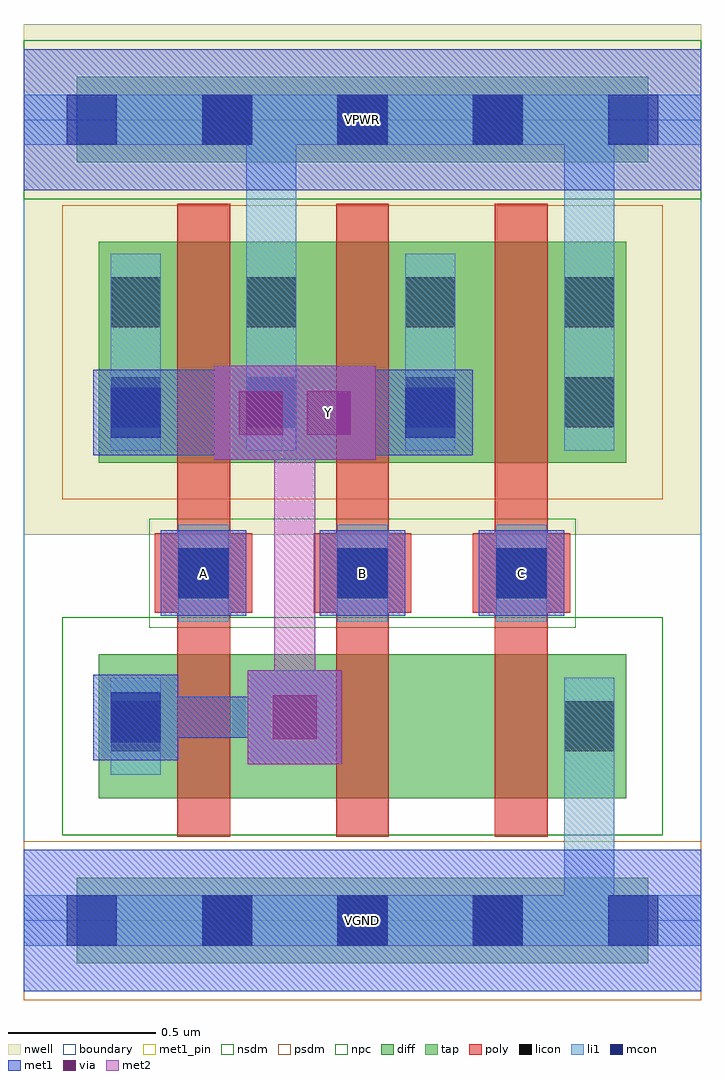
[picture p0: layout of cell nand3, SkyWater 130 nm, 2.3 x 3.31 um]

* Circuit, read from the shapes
.subckt nand3 A B C VGND VPWR Y
XM1 n1 A Y VGND sky130_fd_pr__nfet_01v8 w=0.49 l=0.18
XM2 n2 B n1 VGND sky130_fd_pr__nfet_01v8 w=0.49 l=0.18
XM3 VGND C n2 VGND sky130_fd_pr__nfet_01v8 w=0.49 l=0.18
XM4 VPWR A Y VPWR sky130_fd_pr__pfet_01v8 w=0.75 l=0.18
XM5 Y B VPWR VPWR sky130_fd_pr__pfet_01v8 w=0.75 l=0.18
XM6 VPWR C Y VPWR sky130_fd_pr__pfet_01v8 w=0.75 l=0.18
.ends

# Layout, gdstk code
import gdstk
lib = gdstk.Library(unit=1e-6, precision=1e-09)
def R(c, l, rs):  # rectangles x0, y0, x1, y1
    for r in rs: c.add(gdstk.rectangle(r[:2], r[2:], *l))
def A(c, l, x, y, w, h, nx, ny, dx, dy):  # array of equal rectangles
    R(c, l, [(x+i*dx, y+j*dy, x+i*dx+w, y+j*dy+h) for i in range(nx) for j in range(ny)])
nwell = (64, 20)
diff = (65, 20)
tap = (65, 44)
poly = (66, 20)
licon = (66, 44)
li1 = (67, 20)
mcon = (67, 44)
met1_pin = (68, 16)
met1 = (68, 20)
via = (68, 44)
met2 = (69, 20)
nsdm = (93, 44)
psdm = (94, 20)
npc = (95, 20)
boundary = (235, 4)

nand3 = lib.new_cell('nand3')
R(nand3, nwell, [(0,1.31,2.3,3.045)])
R(nand3, diff, [(0.255,0.415,2.045,0.905), (0.255,1.555,2.045,2.305)])
R(nand3, tap, [(0.18,-0.145,2.12,0.145), (0.18,2.575,2.12,2.865)])
A(nand3, poly, 0.52, 0.285, 0.18, 2.15, 3, 1, 0.54, 0)
A(nand3, poly, 0.445, 1.045, 0.33, 0.27, 3, 1, 0.54, 0)
A(nand3, licon, 0.605, -0.085, 0.17, 0.17, 3, 2, 0.46, 2.72)
A(nand3, licon, 0.525, 1.095, 0.17, 0.17, 3, 1, 0.54, 0)
A(nand3, licon, 0.755, 1.675, 0.17, 0.17, 3, 2, 0.54, 0.34)
R(nand3, licon, [(0.295,0.575,0.465,0.745), (1.835,0.575,2.005,0.745), (0.295,1.675,0.465,1.845), (0.295,2.015,0.465,2.185)])
A(nand3, li1, 0.525, 1.015, 0.17, 0.33, 3, 1, 0.54, 0)
A(nand3, li1, 0.755, 1.595, 0.17, 0.67, 3, 1, 0.54, 0)
R(nand3, li1, [(0,-0.085,2.3,0.085), (1.835,-0.085,2.005,0.825), (0.295,0.495,0.465,0.825), (1.835,0.495,2.005,0.825), (0.295,1.595,0.465,2.265), (0.755,1.595,0.925,2.805), (1.835,1.595,2.005,2.805), (0,2.635,2.3,2.805)])
A(nand3, mcon, 0.145, -0.085, 0.17, 0.17, 5, 2, 0.46, 2.72)
A(nand3, mcon, 0.525, 1.095, 0.17, 0.17, 3, 1, 0.54, 0)
R(nand3, mcon, [(0.295,0.605,0.465,0.775), (0.295,1.64,0.465,1.81), (1.295,1.64,1.465,1.81)])
A(nand3, met1_pin, 0.465, 1.035, 0.29, 0.29, 3, 1, 0.54, 0)
R(nand3, met1_pin, [(0,-0.24,2.3,0.24), (0.875,1.565,1.195,1.885), (0,2.48,2.3,2.96)])
A(nand3, met1, 0.465, 1.035, 0.29, 0.29, 3, 1, 0.54, 0)
R(nand3, met1, [(0,-0.24,2.3,0.24), (0.76,0.53,1.08,0.85), (0.235,0.545,0.525,0.835), (0.31,0.62,0.645,0.76), (0.505,0.62,0.99,0.76), (0.645,1.565,0.965,1.885), (0.875,1.565,1.195,1.885), (0.235,1.58,0.525,1.87), (0.525,1.58,0.645,1.87), (1.195,1.58,1.235,1.87), (1.235,1.58,1.525,1.87), (0.31,1.655,0.645,1.795), (0.505,1.655,0.875,1.795), (0.965,1.655,1.45,1.795), (0,2.48,2.3,2.96)])
R(nand3, via, [(0.845,0.615,0.995,0.765), (0.73,1.65,0.88,1.8), (0.96,1.65,1.11,1.8)])
R(nand3, met2, [(0.76,0.53,1.08,0.85), (0.85,0.62,0.99,1.795), (0.645,1.565,0.965,1.885), (0.875,1.565,1.195,1.885), (0.735,1.655,1.105,1.795)])
R(nand3, nsdm, [(0.13,0.29,2.17,1.03), (0,2.45,2.3,2.99)])
R(nand3, psdm, [(0,-0.27,2.3,0.27), (0.13,1.43,2.17,2.43)])
R(nand3, npc, [(0.425,0.995,1.875,1.365)])
R(nand3, boundary, [(0,0,2.3,2.72)])
nand3.add(gdstk.Label('A', (0.61,1.18), layer=68, texttype=5))
nand3.add(gdstk.Label('B', (1.15,1.18), layer=68, texttype=5))
nand3.add(gdstk.Label('C', (1.69,1.18), layer=68, texttype=5))
nand3.add(gdstk.Label('Y', (1.035,1.725), layer=68, texttype=5))
nand3.add(gdstk.Label('VPWR', (1.15,2.72), layer=68, texttype=5))
nand3.add(gdstk.Label('VGND', (1.15,0), layer=68, texttype=5))
nand3.add(gdstk.Label('A', (0.61,1.18), layer=68, texttype=16))
nand3.add(gdstk.Label('B', (1.15,1.18), layer=68, texttype=16))
nand3.add(gdstk.Label('C', (1.69,1.18), layer=68, texttype=16))
nand3.add(gdstk.Label('Y', (1.035,1.725), layer=68, texttype=16))
nand3.add(gdstk.Label('VPWR', (1.15,2.72), layer=68, texttype=16))
nand3.add(gdstk.Label('VGND', (1.15,0), layer=68, texttype=16))

lib.write_gds('nand3.gds')
